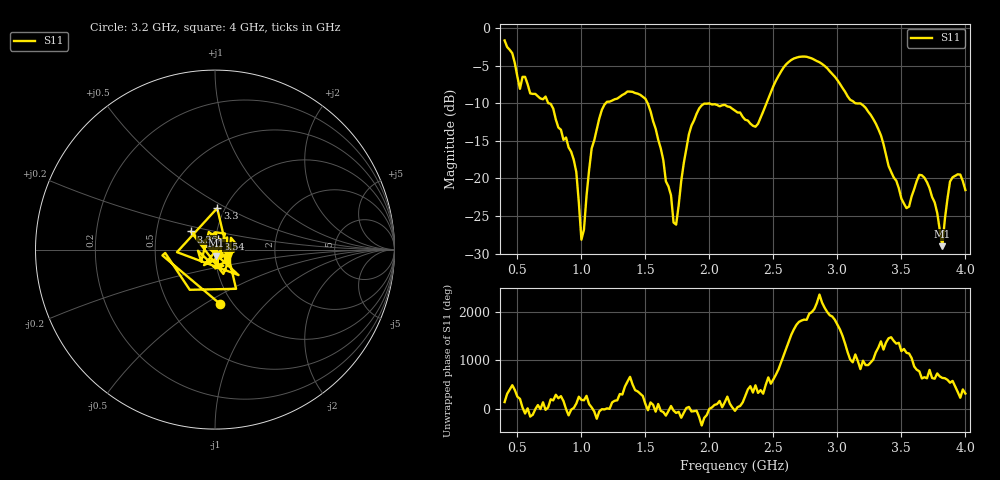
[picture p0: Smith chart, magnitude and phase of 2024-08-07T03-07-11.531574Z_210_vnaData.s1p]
!Created with skrf (http://scikit-rf.org).
# Hz S RI R 50.0
!freq ReS11 ImS11
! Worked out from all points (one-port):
!   181 points, 400 MHz to 4 GHz, reference 50 ohm
!   lowest |S11| = -29.0 dB at 3.82 GHz (marker M1), VSWR 1.07, Z = 50.6 - j3.51 ohm
!   |S11| at or under -10 dB: 742.8 MHz to 1.19 GHz (447.5 MHz wide, 46.3 % of centre); 1.517 GHz to 2.446 GHz (929.3 MHz wide, 46.9 % of centre); 3.139 GHz to end of sweep
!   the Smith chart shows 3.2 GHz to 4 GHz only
!   S11 on the Smith chart (normalised r, x): 3.2 GHz: 0.88, -0.59; 3.3 GHz: 0.92, +0.45; 3.36 GHz: 0.75, +0.16; 3.54 GHz: 1.02, +0.13; 4 GHz: 1.13, -0.12
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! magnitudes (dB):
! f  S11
! 400 MHz  -1.7
! 520 MHz  -8.1
! 720 MHz  -9.1
! 860 MHz  -14.9
! 960 MHz  -19.1
! 1 GHz  -28.2
! 1.08 GHz  -16.0
! 1.14 GHz  -12.0
! 1.3 GHz  -9.2
! 1.5 GHz  -9.4
! 1.62 GHz  -16.0
! 1.72 GHz  -25.9
! 1.76 GHz  -23.6
! 1.84 GHz  -14.1
! 1.92 GHz  -10.7
! 2.2 GHz  -11.0
! 2.36 GHz  -13.1
! 2.66 GHz  -4.1
! 3.1 GHz  -9.6
! 3.2 GHz  -10.3
! 3.3 GHz  -12.7
! 3.36 GHz  -15.4
! 3.54 GHz  -24.0
! 3.56 GHz  -23.8
! 3.68 GHz  -19.9
! 3.82 GHz  -29.0
! 3.88 GHz  -20.4
! 4 GHz  -21.6
